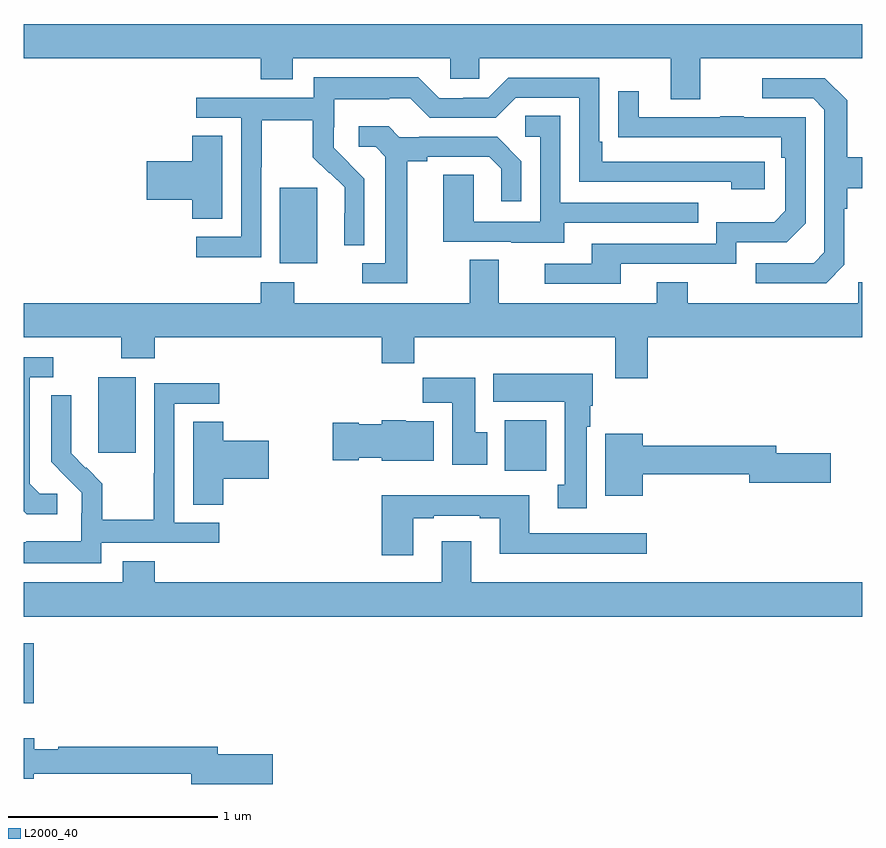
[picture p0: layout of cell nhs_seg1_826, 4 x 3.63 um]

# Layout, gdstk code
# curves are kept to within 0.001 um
import gdstk
lib = gdstk.Library(unit=1e-6, precision=1e-09)
def R(c, l, rs):  # rectangles x0, y0, x1, y1
    for r in rs: c.add(gdstk.rectangle(r[:2], r[2:], *l))
def P(c, l, *ps):  # polygons
    for p in ps: c.add(gdstk.Polygon(p, *l))
L2000_40 = (2000, 40)

nhs_seg1_826 = lib.new_cell('nhs_seg1_826')
R(nhs_seg1_826, L2000_40, [(155,572.63,155.048,572.917), (157.295,573.74,157.492,573.982), (155.354,573.825,155.533,574.186), (156.221,574.73,156.4,575.091)])
P(nhs_seg1_826, L2000_40, [(158.227,575.708),(159,575.708),(159,575.872),(155,575.872),(155,575.708),(156.131,575.708),(156.131,575.609),(156.283,575.609),(156.283,575.708),(157.035,575.708),(157.035,575.61),(157.173,575.61),(157.173,575.708),(158.087,575.708),(158.087,575.514),(158.227,575.514)],
  [(156.132,575.188),(156.135,575.188),(156.135,575.412),(156.379,575.412),(156.379,575.237),(156.456,575.16),(156.459,575.163),(156.53,575.093),(156.53,574.97),(156.528,574.97),(156.528,574.816),(156.624,574.816),(156.624,575.134),(156.478,575.282),(156.478,575.379),(156.48,575.379),(156.48,575.513),(156.743,575.513),(156.743,575.517),(156.843,575.517),(156.936,575.424),(157.251,575.424),(157.347,575.52),(157.65,575.52),(157.65,575.118),(158.375,575.118),(158.375,575.084),(158.536,575.084),(158.536,575.214),(157.759,575.214),(157.759,575.311),(157.746,575.311),(157.746,575.616),(157.311,575.616),(157.215,575.52),(157.097,575.52),(157.097,575.517),(156.981,575.517),(156.881,575.617),(156.384,575.617),(156.384,575.52),(155.823,575.52),(155.823,575.424),(156.036,575.424),(156.036,574.857),(155.823,574.857),(155.823,574.759),(156.132,574.759)],
  [(158.916,574.722),(158.916,574.991),(158.929,574.991),(158.929,575.087),(159,575.087),(159,575.235),(158.929,575.235),(158.929,575.507),(158.823,575.613),(158.523,575.613),(158.523,575.517),(158.766,575.517),(158.82,575.463),(158.82,574.782),(158.769,574.731),(158.493,574.731),(158.493,574.635),(158.829,574.635)],
  [(157.849,574.728),(158.4,574.728),(158.4,574.83),(158.64,574.83),(158.73,574.92),(158.73,575.427),(158.435,575.427),(158.435,575.432),(158.323,575.432),(158.323,575.427),(157.933,575.427),(157.933,575.551),(157.837,575.551),(157.837,575.332),(158.614,575.331),(158.614,575.234),(158.634,575.234),(158.634,574.98),(158.581,574.927),(158.304,574.927),(158.304,574.824),(157.709,574.824),(157.709,574.728),(157.485,574.728),(157.485,574.632),(157.849,574.632)],
  [(157.579,574.923),(158.219,574.923),(158.219,575.019),(157.56,575.019),(157.56,575.435),(157.392,575.435),(157.392,575.334),(157.464,575.334),(157.464,574.929),(157.146,574.929),(157.146,575.153),(157.001,575.153),(157.001,574.833),(157.325,574.833),(157.325,574.829),(157.579,574.829)],
  [(156.829,575.216),(156.925,575.216),(156.925,575.238),(157.22,575.238),(157.277,575.181),(157.277,575.025),(157.374,575.025),(157.374,575.218),(157.258,575.334),(156.886,575.334),(156.886,575.331),(156.792,575.331),(156.74,575.383),(156.597,575.383),(156.597,575.286),(156.678,575.286),(156.725,575.239),(156.725,574.731),(156.615,574.731),(156.615,574.635),(156.829,574.635)],
  [(155.947,575.339),(155.804,575.339),(155.804,575.216),(155.586,575.216),(155.586,575.033),(155.804,575.033),(155.804,574.942),(155.947,574.942)],
  [(157.976,574.376),(159,574.376),(159,574.639),(158.982,574.639),(158.982,574.54),(158.169,574.54),(158.169,574.639),(158.021,574.639),(158.021,574.54),(157.267,574.54),(157.267,574.748),(157.127,574.748),(157.127,574.54),(156.291,574.54),(156.291,574.639),(156.131,574.639),(156.131,574.54),(155,574.54),(155,574.376),(155.464,574.376),(155.464,574.277),(155.624,574.277),(155.624,574.376),(156.707,574.376),(156.707,574.252),(156.863,574.252),(156.863,574.376),(157.823,574.376),(157.823,574.182),(157.976,574.182)],
  [(155.158,573.63),(155.076,573.63),(155.029,573.677),(155.029,574.185),(155.14,574.185),(155.14,574.281),(155,574.281),(155,573.547),(155.014,573.533),(155.158,573.533)],
  [(157.687,573.95),(157.702,573.95),(157.702,574.05),(157.714,574.05),(157.714,574.204),(157.241,574.204),(157.241,574.07),(157.58,574.07),(157.58,573.674),(157.547,573.674),(157.547,573.561),(157.687,573.561)],
  [(157.21,573.924),(157.153,573.924),(157.153,574.183),(156.904,574.183),(156.904,574.064),(157.043,574.064),(157.043,573.768),(157.21,573.768)],
  [(155.37,573.396),(155.932,573.396),(155.932,573.492),(155.718,573.492),(155.718,574.059),(155.932,574.059),(155.932,574.158),(155.622,574.158),(155.622,573.728),(155.62,573.728),(155.62,573.505),(155.375,573.505),(155.375,573.679),(155.298,573.756),(155.295,573.753),(155.225,573.824),(155.226,574.1),(155.13,574.1),(155.13,573.782),(155.276,573.634),(155.276,573.537),(155.274,573.537),(155.274,573.403),(155.011,573.403),(155.011,573.399),(155,573.399),(155,573.299),(155.37,573.299)],
  [(156.955,573.976),(156.822,573.976),(156.822,573.982),(156.708,573.982),(156.708,573.961),(156.597,573.961),(156.597,573.969),(156.474,573.969),(156.474,573.791),(156.597,573.791),(156.597,573.803),(156.708,573.803),(156.708,573.788),(156.955,573.788)],
  [(155.951,573.701),(156.169,573.701),(156.169,573.884),(155.951,573.884),(155.951,573.974),(155.807,573.974),(155.807,573.577),(155.951,573.577)],
  [(157.954,573.724),(158.462,573.724),(158.462,573.682),(158.851,573.682),(158.851,573.824),(158.59,573.824),(158.59,573.86),(157.954,573.86),(157.954,573.916),(157.775,573.916),(157.775,573.62),(157.954,573.62)],
  [(156.859,573.513),(156.955,573.513),(156.955,573.525),(157.175,573.525),(157.175,573.513),(157.271,573.513),(157.271,573.344),(157.972,573.344),(157.972,573.441),(157.411,573.441),(157.411,573.622),(156.707,573.622),(156.707,573.336),(156.859,573.336)],
  [(159,573.208),(157.135,573.208),(157.135,573.403),(156.995,573.403),(156.995,573.208),(155.624,573.208),(155.624,573.307),(155.471,573.307),(155.471,573.208),(155,573.208),(155,573.044),(159,573.044)],
  [(156.187,572.387),(155.926,572.387),(155.926,572.423),(155.164,572.423),(155.164,572.412),(155.05,572.412),(155.05,572.464),(155,572.464),(155,572.27),(155.046,572.27),(155.046,572.295),(155.798,572.295),(155.798,572.245),(156.187,572.245)])

lib.write_gds('nhs_seg1_826.gds')
